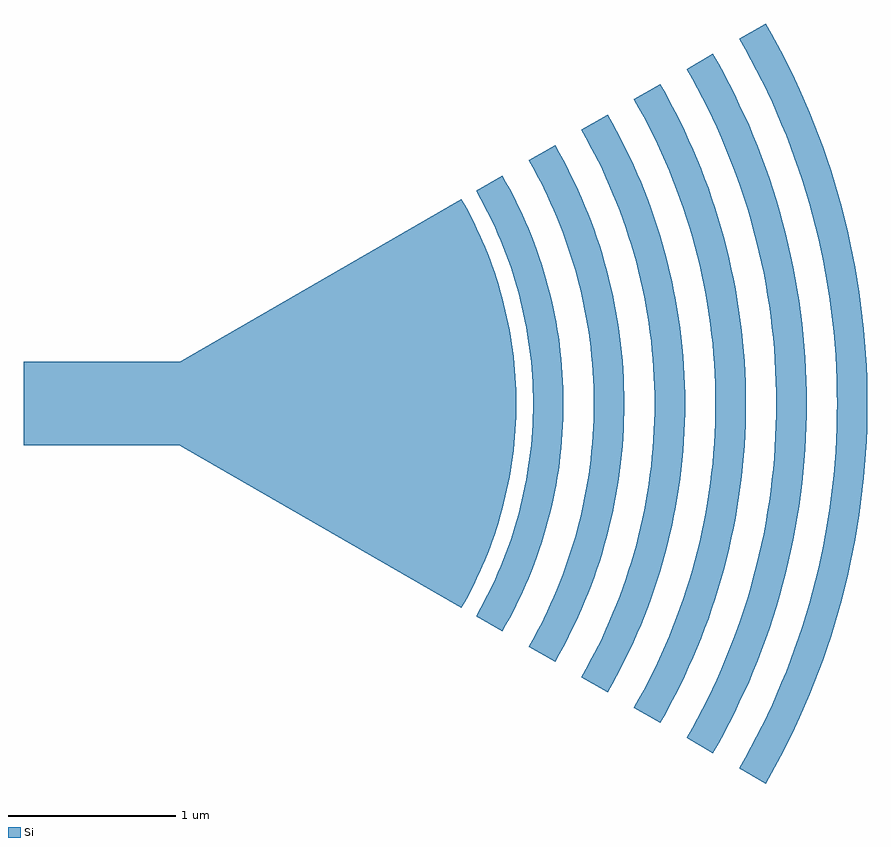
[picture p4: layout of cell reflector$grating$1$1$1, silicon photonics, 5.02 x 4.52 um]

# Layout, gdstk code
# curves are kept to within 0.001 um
import gdstk
lib = gdstk.Library(unit=1e-6, precision=1e-09)
def R(c, l, rs):  # rectangles x0, y0, x1, y1
    for r in rs: c.add(gdstk.rectangle(r[:2], r[2:], *l))
def P(c, l, *ps):  # polygons
    for p in ps: c.add(gdstk.Polygon(p, *l))
Si = (1, 0)

input_wg_1_1_1 = lib.new_cell('Input$wg$1$1$1')
R(input_wg_1_1_1, Si, [(-0.5,-0.25,0.434,0.25)])

c_3_1_1_1 = lib.new_cell('3$1$1$1')
P(c_3_1_1_1, Si, [(2.977,-1.719),(2.821,-1.629),(2.921,-1.441),(2.967,-1.344),(3.009,-1.246),(3.067,-1.097),(3.101,-0.996),(3.132,-0.894),(3.146,-0.843),(3.184,-0.688),(3.214,-0.531),(3.222,-0.478),(3.236,-0.372),(3.246,-0.266),(3.253,-0.16),(3.257,-0.053),(3.257,0.053),(3.253,0.16),(3.246,0.266),(3.236,0.372),(3.214,0.531),(3.184,0.688),(3.146,0.843),(3.117,0.945),(3.084,1.047),(3.067,1.097),(3.009,1.246),(2.967,1.344),(2.921,1.441),(2.821,1.629),(2.977,1.719),(3.032,1.621),(3.083,1.521),(3.132,1.419),(3.176,1.316),(3.218,1.211),(3.256,1.105),(3.29,0.998),(3.321,0.89),(3.361,0.726),(3.372,0.671),(3.392,0.56),(3.409,0.449),(3.427,0.281),(3.434,0.169),(3.438,0.056),(3.438,-0.056),(3.431,-0.225),(3.427,-0.281),(3.409,-0.449),(3.392,-0.56),(3.372,-0.671),(3.361,-0.726),(3.321,-0.89),(3.29,-0.998),(3.256,-1.105),(3.218,-1.211),(3.176,-1.316),(3.132,-1.419),(3.083,-1.521),(3.032,-1.621)])

c_6_1_1_1 = lib.new_cell('6$1$1$1')
P(c_6_1_1_1, Si, [(3.918,-2.262),(3.761,-2.172),(3.83,-2.047),(3.895,-1.921),(3.956,-1.792),(4.012,-1.662),(4.065,-1.53),(4.113,-1.396),(4.156,-1.261),(4.195,-1.124),(4.23,-0.986),(4.26,-0.847),(4.285,-0.707),(4.306,-0.567),(4.322,-0.426),(4.334,-0.284),(4.341,-0.142),(4.343,0),(4.341,0.142),(4.334,0.284),(4.322,0.426),(4.306,0.567),(4.285,0.707),(4.26,0.847),(4.23,0.986),(4.195,1.124),(4.156,1.261),(4.113,1.396),(4.065,1.53),(4.012,1.662),(3.956,1.792),(3.895,1.921),(3.83,2.047),(3.761,2.172),(3.918,2.262),(3.99,2.133),(4.057,2.001),(4.121,1.867),(4.18,1.731),(4.234,1.594),(4.284,1.454),(4.329,1.313),(4.37,1.171),(4.406,1.027),(4.437,0.883),(4.464,0.737),(4.485,0.591),(4.509,0.37),(4.519,0.222),(4.522,0.148),(4.524,0),(4.522,-0.148),(4.519,-0.222),(4.509,-0.37),(4.485,-0.591),(4.464,-0.737),(4.437,-0.883),(4.406,-1.027),(4.37,-1.171),(4.329,-1.313),(4.284,-1.454),(4.234,-1.594),(4.18,-1.731),(4.121,-1.867),(4.057,-2.001),(3.99,-2.133)])

c_2_1_1_1 = lib.new_cell('2$1$1$1')
P(c_2_1_1_1, Si, [(2.664,-1.538),(2.507,-1.448),(2.531,-1.406),(2.575,-1.323),(2.617,-1.238),(2.675,-1.108),(2.726,-0.975),(2.756,-0.886),(2.784,-0.795),(2.83,-0.611),(2.864,-0.425),(2.881,-0.284),(2.889,-0.189),(2.892,-0.142),(2.895,-0.047),(2.895,0.047),(2.892,0.142),(2.885,0.237),(2.876,0.331),(2.864,0.425),(2.848,0.518),(2.83,0.611),(2.808,0.703),(2.784,0.795),(2.756,0.886),(2.726,0.975),(2.675,1.108),(2.617,1.238),(2.575,1.323),(2.531,1.406),(2.507,1.448),(2.664,1.538),(2.713,1.45),(2.759,1.36),(2.802,1.269),(2.842,1.177),(2.879,1.084),(2.913,0.989),(2.958,0.845),(2.984,0.747),(3.007,0.649),(3.026,0.551),(3.043,0.451),(3.056,0.352),(3.066,0.251),(3.072,0.151),(3.076,0.05),(3.076,-0.05),(3.072,-0.151),(3.066,-0.251),(3.056,-0.352),(3.043,-0.451),(3.026,-0.551),(3.007,-0.649),(2.984,-0.747),(2.958,-0.845),(2.929,-0.941),(2.879,-1.084),(2.842,-1.177),(2.802,-1.269),(2.759,-1.36),(2.713,-1.45)])

c_5_1_1_1 = lib.new_cell('5$1$1$1')
P(c_5_1_1_1, Si, [(3.604,-2.081),(3.448,-1.991),(3.511,-1.877),(3.599,-1.702),(3.653,-1.583),(3.678,-1.523),(3.726,-1.402),(3.77,-1.28),(3.81,-1.156),(3.862,-0.967),(3.905,-0.777),(3.917,-0.713),(3.938,-0.584),(3.955,-0.455),(3.968,-0.325),(3.976,-0.195),(3.979,-0.13),(3.981,0),(3.979,0.13),(3.976,0.195),(3.968,0.325),(3.955,0.455),(3.938,0.584),(3.917,0.713),(3.905,0.777),(3.862,0.967),(3.81,1.156),(3.77,1.28),(3.726,1.402),(3.678,1.523),(3.653,1.583),(3.599,1.702),(3.511,1.877),(3.448,1.991),(3.604,2.081),(3.671,1.962),(3.733,1.841),(3.791,1.718),(3.845,1.593),(3.871,1.53),(3.919,1.402),(3.941,1.338),(3.983,1.208),(4.02,1.077),(4.068,0.879),(4.095,0.745),(4.117,0.611),(4.135,0.476),(4.148,0.34),(4.157,0.204),(4.16,0.136),(4.162,0),(4.16,-0.136),(4.157,-0.204),(4.148,-0.34),(4.135,-0.476),(4.117,-0.611),(4.095,-0.745),(4.068,-0.879),(4.02,-1.077),(3.983,-1.208),(3.941,-1.338),(3.919,-1.402),(3.871,-1.53),(3.845,-1.593),(3.791,-1.718),(3.733,-1.841),(3.671,-1.962)])

c_1_1_1_1 = lib.new_cell('1$1$1$1')
P(c_1_1_1_1, Si, [(2.35,-1.357),(2.194,-1.267),(2.234,-1.194),(2.272,-1.12),(2.324,-1.008),(2.371,-0.892),(2.412,-0.775),(2.436,-0.696),(2.447,-0.656),(2.476,-0.535),(2.506,-0.372),(2.525,-0.207),(2.528,-0.166),(2.533,-0.041),(2.532,0.083),(2.528,0.166),(2.521,0.248),(2.506,0.372),(2.476,0.535),(2.447,0.656),(2.412,0.775),(2.356,0.931),(2.324,1.008),(2.29,1.083),(2.234,1.194),(2.194,1.267),(2.35,1.357),(2.394,1.279),(2.434,1.2),(2.472,1.12),(2.507,1.039),(2.54,0.956),(2.57,0.872),(2.597,0.788),(2.622,0.702),(2.653,0.573),(2.67,0.486),(2.685,0.398),(2.705,0.222),(2.711,0.133),(2.714,0.044),(2.714,-0.044),(2.711,-0.133),(2.705,-0.222),(2.691,-0.354),(2.678,-0.442),(2.662,-0.529),(2.653,-0.573),(2.622,-0.702),(2.597,-0.788),(2.57,-0.872),(2.54,-0.956),(2.507,-1.039),(2.472,-1.12),(2.434,-1.2),(2.394,-1.279)])

c_4_1_1_1 = lib.new_cell('4$1$1$1')
P(c_4_1_1_1, Si, [(3.291,-1.9),(3.134,-1.81),(3.192,-1.706),(3.246,-1.601),(3.272,-1.547),(3.344,-1.385),(3.387,-1.275),(3.427,-1.163),(3.446,-1.107),(3.496,-0.937),(3.511,-0.879),(3.537,-0.764),(3.561,-0.648),(3.58,-0.531),(3.602,-0.355),(3.607,-0.296),(3.615,-0.178),(3.619,-0.059),(3.619,0.059),(3.615,0.178),(3.602,0.355),(3.588,0.472),(3.571,0.59),(3.561,0.648),(3.524,0.822),(3.496,0.937),(3.446,1.107),(3.387,1.275),(3.344,1.385),(3.272,1.547),(3.246,1.601),(3.192,1.706),(3.134,1.81),(3.291,1.9),(3.322,1.846),(3.408,1.681),(3.461,1.568),(3.511,1.454),(3.578,1.28),(3.618,1.162),(3.671,0.984),(3.701,0.863),(3.727,0.741),(3.739,0.68),(3.768,0.496),(3.782,0.372),(3.792,0.249),(3.8,0.062),(3.8,-0.062),(3.792,-0.249),(3.782,-0.372),(3.768,-0.496),(3.739,-0.68),(3.727,-0.741),(3.701,-0.863),(3.671,-0.984),(3.618,-1.162),(3.578,-1.28),(3.511,-1.454),(3.461,-1.568),(3.408,-1.681),(3.322,-1.846)])

input_taper_1_1_1 = lib.new_cell('Input$Taper$1$1$1')
P(input_taper_1_1_1, Si, [(2.107,-1.217),(0,0),(2.107,1.217),(2.146,1.147),(2.182,1.076),(2.216,1.004),(2.248,0.931),(2.291,0.82),(2.304,0.782),(2.35,0.63),(2.378,0.514),(2.394,0.436),(2.407,0.357),(2.425,0.199),(2.432,0.08),(2.433,0.04),(2.432,-0.08),(2.425,-0.199),(2.417,-0.278),(2.407,-0.357),(2.394,-0.436),(2.378,-0.514),(2.35,-0.63),(2.304,-0.782),(2.291,-0.82),(2.248,-0.931),(2.216,-1.004),(2.182,-1.076),(2.146,-1.147)])

reflector_grating_1_1_1 = lib.new_cell('reflector$grating$1$1$1')
reflector_grating_1_1_1.add(gdstk.Reference(input_wg_1_1_1, (0,0)))
reflector_grating_1_1_1.add(gdstk.Reference(c_3_1_1_1, (0,0)))
reflector_grating_1_1_1.add(gdstk.Reference(c_6_1_1_1, (0,0)))
reflector_grating_1_1_1.add(gdstk.Reference(c_2_1_1_1, (0,0)))
reflector_grating_1_1_1.add(gdstk.Reference(c_5_1_1_1, (0,0)))
reflector_grating_1_1_1.add(gdstk.Reference(c_1_1_1_1, (0,0)))
reflector_grating_1_1_1.add(gdstk.Reference(c_4_1_1_1, (0,0)))
reflector_grating_1_1_1.add(gdstk.Reference(input_taper_1_1_1, (0,0)))

lib.write_gds('reflector_grating_1_1_1.gds')
